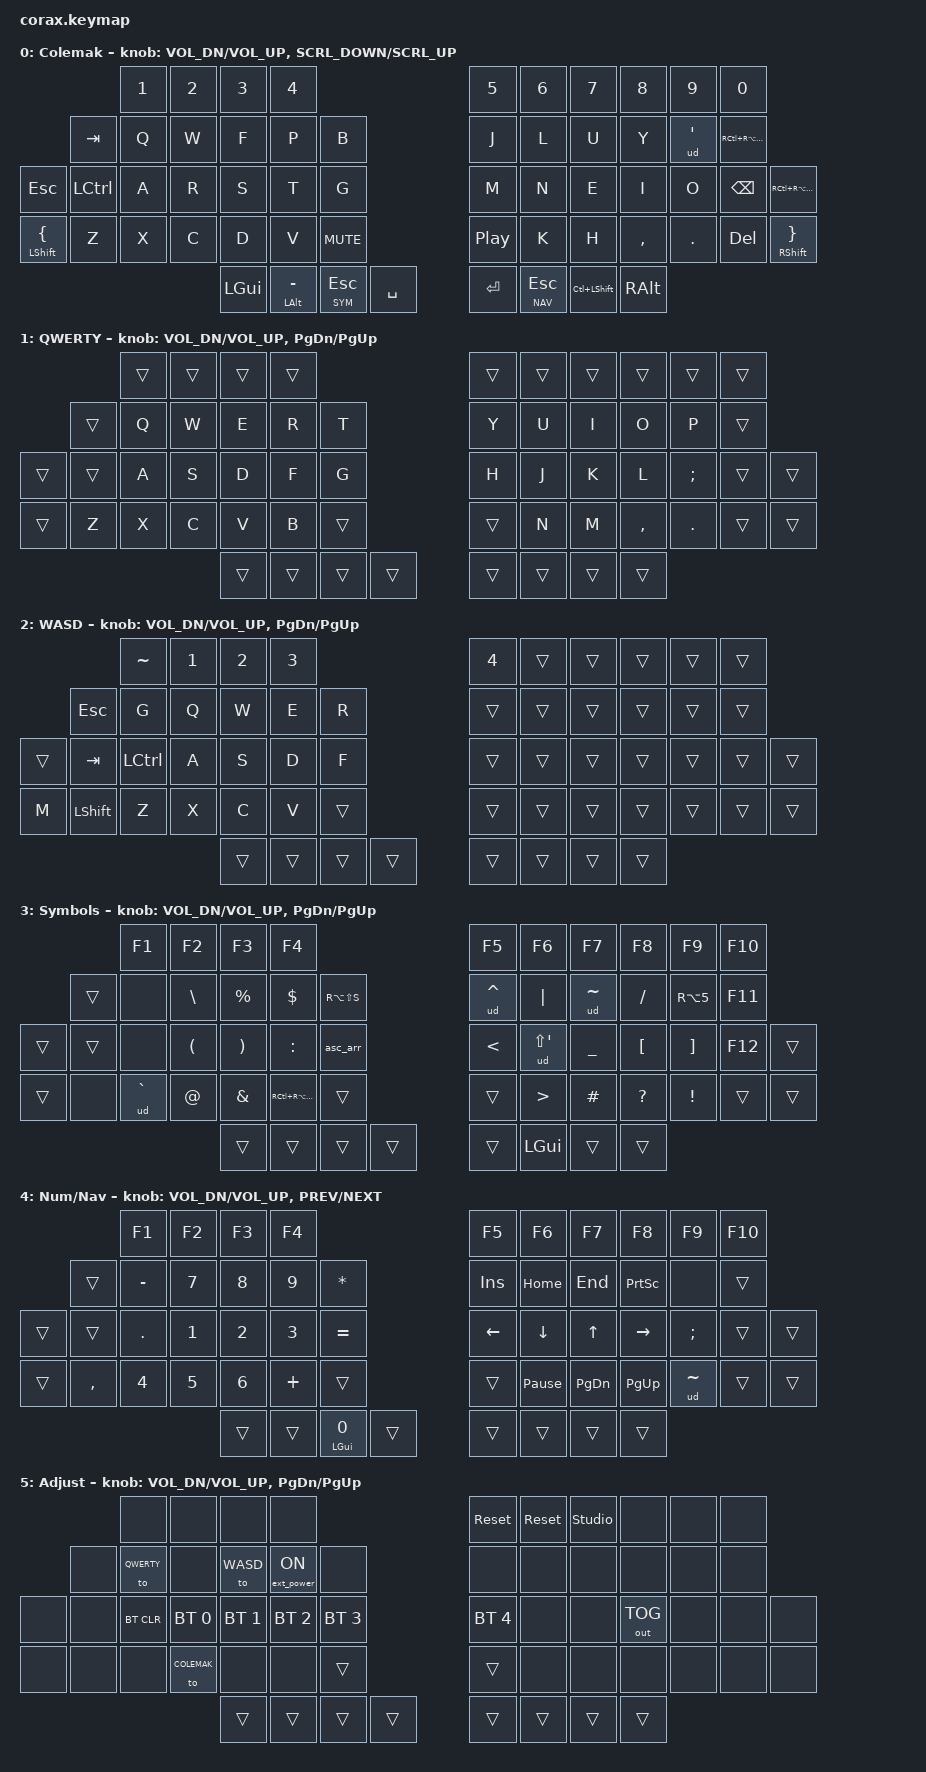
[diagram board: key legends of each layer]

#include <behaviors.dtsi>
#include <dt-bindings/zmk/bt.h>
#include <dt-bindings/zmk/keys.h>
#include <dt-bindings/zmk/outputs.h>
#include <dt-bindings/zmk/ext_power.h>

#define ZMK_POINTING_DEFAULT_SCRL_VAL 320   // default: 10; x16 because smooth scrolling sends 1/16-notch units
#include <dt-bindings/zmk/pointing.h>

#define COLEMAK 0
#define QWERTY 1
#define WASD 2
#define SYM 3
#define NAV 4
#define ADJUST 5

// additional caps word keys
&caps_word {
    continue-list = <UNDERSCORE MINUS LS(MINUS) UP DOWN LEFT RIGHT BSPC DEL>;
};

// mouse scroll speed
&msc {
    acceleration-exponent = <0>;
    time-to-max-speed-ms = <0>;
    delay-ms = <0>;
};

/ {

    behaviors {
        lthp: layer_tap_hold_preferred {
            compatible = "zmk,behavior-hold-tap";
            #binding-cells = <2>;
            flavor = "hold-preferred";
            tapping-term-ms = <200>;
            bindings = <&mo>, <&kp>;
        };

        // balanced: a fast roll like `-o` stays a tap, hold + another key is the mod
        mtb: mod_tap_balanced {
            compatible = "zmk,behavior-hold-tap";
            #binding-cells = <2>;
            flavor = "balanced";
            tapping-term-ms = <200>;
            bindings = <&kp>, <&kp>;
        };

        inc_dec_msc: sensor_rotation_scroll {
            compatible = "zmk,behavior-sensor-rotate-var";
            #sensor-binding-cells = <2>;
            bindings = <&msc>, <&msc>;
            tap-ms = <200>;
        };
    };

    macros {
        // undead: tap a US-intl dead key, then SPACE to emit the literal character
        ud: undead {
            compatible = "zmk,behavior-macro-one-param";
            #binding-cells = <1>;
            wait-ms = <10>;
            tap-ms = <10>;
            bindings = <&macro_param_1to1 &kp MACRO_PLACEHOLDER &kp SPACE>;
        };

        // ascii arrow ->
        asc_arr: asc_arr {
            compatible = "zmk,behavior-macro";
            #binding-cells = <0>;
            wait-ms = <10>;
            tap-ms = <10>;
            bindings = <&kp MINUS &kp LS(DOT)>;
        };

    };

    combos {
        compatible = "zmk,combos";

        tg_capsword {
            bindings = <&caps_word>;
            // caps on T+G: both are index-finger keys, so normal typing never presses them together
            key-positions = <27 28>;
            timeout-ms = <40>;
            require-prior-idle-ms = <150>;
            layers = <COLEMAK QWERTY>;  // on WASD these are D+F
        };

        zx_numlock {
            bindings = <&tog NAV>;
            // toggle Num/Nav on Z+X: "zx" never occurs as a bigram
            key-positions = <37 38>;
            timeout-ms = <40>;
            require-prior-idle-ms = <150>;
            layers = <COLEMAK QWERTY NAV>;  // NAV so the same combo turns it off
        };

        sticky_adjust {
            bindings = <&sl ADJUST>;
            // sticky adjust layer on LALT + Ctrl+Shift
            key-positions = <51 56>;
        };
    };

    keymap {
        compatible = "zmk,keymap";

        colemak_layer {
            display-name = "Colemak";
            bindings = <
                         &kp N1  &kp N2  &kp N3    &kp N4                                          &kp N5       &kp N6    &kp N7     &kp N8   &kp N9   &kp N0
         &kp TAB         &kp Q   &kp W   &kp F     &kp P     &kp B                                 &kp J        &kp L     &kp U      &kp Y    &ud SQT  &kp RC(RA(F13)) 
&kp ESC  &kp LCTRL       &kp A   &kp R   &kp S     &kp T     &kp G                                 &kp M        &kp N     &kp E      &kp I    &kp O    &kp BSPC         &kp RC(RA(F13))
         &mt LSHFT LBRC  &kp Z   &kp X   &kp C     &kp D     &kp V          &kp C_MUTE  &kp C_PP   &kp K        &kp H     &kp COMMA  &kp DOT  &kp DEL  &mt RSHFT RBRC
                                         &kp LGUI  &mtb LALT MINUS  &lthp SYM ESC  &kp SPACE   &kp ENTER  &lt NAV ESC  &kp LC(LSHFT)  &kp RALT
            >;

            sensor-bindings = <&inc_dec_kp C_VOL_DN C_VOL_UP &inc_dec_msc SCRL_DOWN SCRL_UP>;
        };

        qwerty_layer {
            display-name = "QWERTY";
            bindings = <
                &trans &trans  &trans  &trans  &trans                  &trans  &trans  &trans     &trans   &trans
        &trans  &kp Q  &kp W   &kp E   &kp R   &kp T                   &kp Y   &kp U   &kp I      &kp O    &kp P     &trans
&trans  &trans  &kp A  &kp S   &kp D   &kp F   &kp G                   &kp H   &kp J   &kp K      &kp L    &kp SEMI  &trans  &trans
        &trans  &kp Z  &kp X   &kp C   &kp V   &kp B   &trans  &trans  &kp N   &kp M   &kp COMMA  &kp DOT  &trans    &trans
                               &trans  &trans  &trans  &trans  &trans  &trans  &trans  &trans
            >;

            sensor-bindings = <&inc_dec_kp C_VOL_DN C_VOL_UP &inc_dec_kp PG_DN PG_UP>;
        };

        gaming_layer {
            display-name = "WASD";
            bindings = <
                   &kp TILDE  &kp N1  &kp N2  &kp N3  &kp N4                  &trans  &trans  &trans  &trans  &trans
        &kp ESC    &kp G      &kp Q   &kp W   &kp E   &kp R                   &trans  &trans  &trans  &trans  &trans  &trans
&trans  &kp TAB    &kp LCTRL  &kp A   &kp S   &kp D   &kp F                   &trans  &trans  &trans  &trans  &trans  &trans  &trans
        &kp M      &kp LSHIFT &kp Z   &kp X   &kp C   &kp V   &trans  &trans  &trans  &trans  &trans  &trans  &trans  &trans
                                      &trans  &trans  &trans  &trans  &trans  &trans  &trans  &trans
            >;

            sensor-bindings = <&inc_dec_kp C_VOL_DN C_VOL_UP &inc_dec_kp PG_DN PG_UP>;
        };

        // left mod
        sym_layer {
            display-name = "Symbols";
            bindings = <
                &kp F1  &kp F2     &kp F3     &kp F4     &kp F5                           &kp F6      &kp F7       &kp F8     &kp F9     &kp F10
        &trans  &none   &kp BSLH   &kp PRCNT  &kp DLLR   &kp RA(LS(S))                    &ud CARET   &kp PIPE     &ud TILDE  &kp SLASH  &kp RA(N5)  &kp F11
&trans  &trans  &none   &kp LPAR   &kp RPAR   &kp COLON  &asc_arr                         &kp LT      &ud LS(SQT)  &kp UNDER  &kp LBKT   &kp RBKT    &kp F12  &trans
        &trans  &none   &ud GRAVE  &kp AT     &kp AMPS   &kp RC(RA(F14))  &trans  &trans  &kp GT      &kp HASH     &kp QMARK  &kp EXCL   &trans      &trans
                                   &trans     &trans     &trans           &trans  &trans  &kp LGUI    &trans       &trans
            >;

            sensor-bindings = <&inc_dec_kp C_VOL_DN C_VOL_UP &inc_dec_kp PG_DN PG_UP>;
        };

        // right mod
        nav_layer {
            display-name = "Num/Nav";
            bindings = <
                &kp F1     &kp F2  &kp F3  &kp F4         &kp F5                         &kp F6           &kp F7     &kp F8     &kp F9     &kp F10
        &trans  &kp MINUS  &kp N7  &kp N8  &kp N9         &kp STAR                       &kp INS          &kp HOME   &kp END    &kp PSCRN  &none     &trans
&trans  &trans  &kp DOT    &kp N1  &kp N2  &kp N3         &kp EQUAL                      &kp LEFT         &kp DOWN   &kp UP     &kp RIGHT  &kp SEMI  &trans  &trans
        &trans  &kp COMMA  &kp N4  &kp N5  &kp N6         &kp PLUS       &trans  &trans  &kp PAUSE_BREAK  &kp PG_DN  &kp PG_UP  &ud TILDE  &trans    &trans
                                   &trans  &trans         &mt LGUI N0  &trans  &trans  &trans           &trans     &trans
            >;
            
            sensor-bindings = <&inc_dec_kp C_VOL_DN C_VOL_UP &inc_dec_kp C_PREV C_NEXT>;
        };

        adjust_layer {
            display-name = "Adjust";
            bindings = <
              &none       &none         &none         &none              &sys_reset                    &sys_reset   &studio_unlock  &none       &none         &none
       &none  &to QWERTY  &none         &to WASD      &ext_power EP_ON  &none                         &none        &none       &none       &none         &none  &none
&none  &none  &bt BT_CLR  &bt BT_SEL 0  &bt BT_SEL 1  &bt BT_SEL 2       &bt BT_SEL 3                  &bt BT_SEL 4 &none       &none       &out OUT_TOG  &none  &none  &none
       &none  &none       &none         &to COLEMAK   &none              &none         &trans  &trans  &none        &none       &none       &none         &none  &none
                                        &trans        &trans             &trans        &trans  &trans  &trans       &trans      &trans
            >;

            sensor-bindings = <&inc_dec_kp C_VOL_DN C_VOL_UP &inc_dec_kp PG_DN PG_UP>;
        };

		// reserved extra layer for zmk studio
		extra1 {
            status = "reserved";
        };
    };
};
